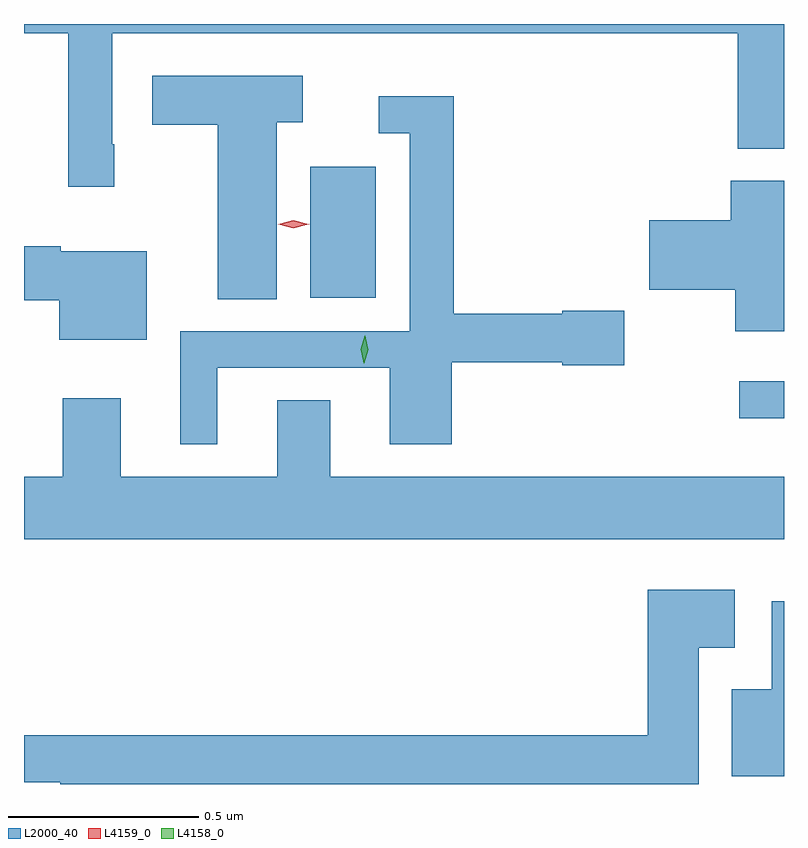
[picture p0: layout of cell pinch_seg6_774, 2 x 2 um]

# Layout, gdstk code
import gdstk
lib = gdstk.Library(unit=1e-6, precision=1e-09)
def R(c, l, rs):  # rectangles x0, y0, x1, y1
    for r in rs: c.add(gdstk.rectangle(r[:2], r[2:], *l))
def P(c, l, *ps):  # polygons
    for p in ps: c.add(gdstk.Polygon(p, *l))
L2000_40 = (2000, 40)
L4158_0 = (4158, 0)
L4159_0 = (4159, 0)

pinch_seg6_774 = lib.new_cell('pinch_seg6_774')
R(pinch_seg6_774, L2000_40, [(606.483,947.654,606.601,947.752), (605.354,947.972,605.527,948.316)])
P(pinch_seg6_774, L2000_40, [(604.838,948.376),(604.833,948.376),(604.833,948.668),(606.479,948.668),(606.479,948.364),(606.601,948.364),(606.601,948.692),(604.601,948.692),(604.601,948.668),(604.717,948.668),(604.717,948.264),(604.838,948.264)],
  [(605.266,948.434),(605.335,948.434),(605.335,948.556),(604.938,948.556),(604.938,948.427),(605.111,948.427),(605.111,947.968),(605.266,947.968)],
  [(605.11,947.787),(605.564,947.787),(605.564,947.586),(605.726,947.586),(605.726,947.802),(606.018,947.802),(606.018,947.794),(606.181,947.794),(606.181,947.938),(606.018,947.938),(606.018,947.93),(605.732,947.93),(605.732,948.502),(605.535,948.502),(605.535,948.405),(605.616,948.405),(605.616,947.883),(605.012,947.883),(605.012,947.586),(605.11,947.586)],
  [(606.601,948.279),(606.461,948.279),(606.461,948.176),(606.246,948.176),(606.246,947.993),(606.473,947.993),(606.473,947.883),(606.601,947.883)],
  [(604.924,948.094),(604.698,948.094),(604.698,948.107),(604.601,948.107),(604.601,947.965),(604.694,947.965),(604.694,947.861),(604.924,947.861)],
  [(606.601,947.5),(605.407,947.5),(605.407,947.702),(605.267,947.702),(605.267,947.5),(604.855,947.5),(604.855,947.707),(604.703,947.707),(604.703,947.5),(604.601,947.5),(604.601,947.336),(606.601,947.336)],
  [(606.376,947.051),(606.472,947.051),(606.472,947.203),(606.242,947.203),(606.242,946.82),(604.601,946.82),(604.601,946.697),(604.696,946.697),(604.696,946.692),(606.376,946.692)],
  [(606.601,947.173),(606.569,947.173),(606.569,946.942),(606.464,946.942),(606.464,946.712),(606.601,946.712)])
P(pinch_seg6_774, L4158_0, [(605.495,947.799),(605.495,947.799),(605.487,947.836),(605.498,947.871),(605.498,947.871),(605.499,947.871),(605.507,947.835),(605.496,947.799)])
P(pinch_seg6_774, L4159_0, [(605.31,948.155),(605.27,948.165),(605.27,948.165),(605.27,948.165),(605.31,948.175),(605.35,948.165),(605.351,948.165),(605.35,948.165)])

lib.write_gds('pinch_seg6_774.gds')
